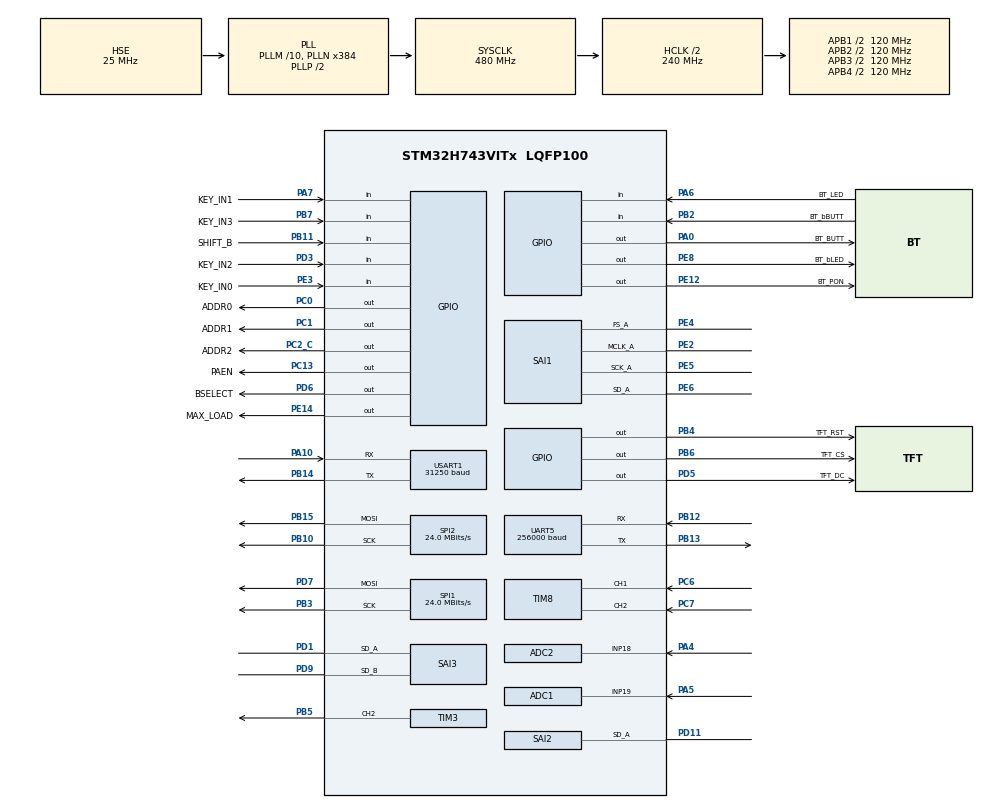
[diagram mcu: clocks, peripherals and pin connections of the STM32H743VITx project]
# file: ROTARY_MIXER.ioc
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ADC1.Channel-2\#ChannelRegularConversion=ADC_CHANNEL_19
ADC1.Mode=ADC_MODE_INDEPENDENT
ADC1.NbrOfConversionFlag=1
ADC1.OffsetNumber-2\#ChannelRegularConversion=ADC_OFFSET_NONE
ADC1.OffsetSignedSaturation-2\#ChannelRegularConversion=DISABLE
ADC1.Rank-2\#ChannelRegularConversion=1
ADC1.Resolution=ADC_RESOLUTION_12B
ADC1.SamplingTime-2\#ChannelRegularConversion=ADC_SAMPLETIME_1CYCLE_5
ADC1.master=1
ADC2.Channel-1\#ChannelRegularConversion=ADC_CHANNEL_18
ADC2.NbrOfConversionFlag=1
ADC2.OffsetNumber-1\#ChannelRegularConversion=ADC_OFFSET_NONE
ADC2.OffsetSignedSaturation-1\#ChannelRegularConversion=DISABLE
ADC2.Rank-1\#ChannelRegularConversion=1
ADC2.Resolution=ADC_RESOLUTION_12B
ADC2.SamplingTime-1\#ChannelRegularConversion=ADC_SAMPLETIME_1CYCLE_5
CORTEX_M7.CPU_DCache=Enabled
CORTEX_M7.CPU_ICache=Enabled
CORTEX_M7.Enable_S-Cortex_Memory_Protection_Unit_Region13_Settings_S=__NULL
CORTEX_M7.MPU_Control=__NULL
Mcu.Family=STM32H7
Mcu.Name=STM32H743VITx
Mcu.Package=LQFP100
NVIC.PriorityGroup=NVIC_PRIORITYGROUP_4
NVIC.SAI1_IRQn=true\:0\:0\:true\:false\:true\:true\:true\:true
NVIC.SAI2_IRQn=true\:1\:0\:true\:false\:true\:true\:true\:true
NVIC.SAI3_IRQn=true\:2\:0\:true\:false\:true\:true\:true\:true
NVIC.TIM2_IRQn=true\:3\:0\:true\:false\:true\:true\:true\:true
NVIC.TIM8_UP_TIM13_IRQn=true\:6\:0\:true\:false\:true\:true\:true\:true
NVIC.UART5_IRQn=true\:3\:0\:true\:false\:true\:true\:true\:true
NVIC.USART1_IRQn=true\:5\:0\:true\:false\:true\:true\:true\:true
PA0.GPIO_Label=BT_BUTT
PA0.GPIO_Speed=GPIO_SPEED_FREQ_MEDIUM
PA0.Signal=GPIO_Output
PA10.Mode=Asynchronous
PA10.Signal=USART1_RX
PA4.Signal=ADCx_INP18
PA5.Signal=ADCx_INP19
PA6.GPIO_Label=BT_LED
PA6.GPIO_PuPd=GPIO_PULLUP
PA6.Signal=GPIO_Input
PA7.GPIO_Label=KEY_IN1
PA7.Signal=GPIO_Input
PB10.GPIO_Speed=GPIO_SPEED_FREQ_MEDIUM
PB10.Mode=TX_Only_Simplex_Unidirect_Master
PB10.Signal=SPI2_SCK
PB11.GPIO_Label=SHIFT_B
PB11.GPIO_PuPd=GPIO_PULLUP
PB11.Signal=GPIO_Input
PB12.Mode=Asynchronous
PB12.Signal=UART5_RX
PB13.Mode=Asynchronous
PB13.Signal=UART5_TX
PB14.Mode=Asynchronous
PB14.Signal=USART1_TX
PB15.GPIO_Speed=GPIO_SPEED_FREQ_MEDIUM
PB15.Mode=TX_Only_Simplex_Unidirect_Master
PB15.Signal=SPI2_MOSI
PB2.GPIO_Label=BT_bBUTT
PB2.GPIO_PuPd=GPIO_PULLUP
PB2.Signal=GPIO_Input
PB3\ (JTDO/TRACESWO).GPIO_Speed=GPIO_SPEED_FREQ_HIGH
PB3\ (JTDO/TRACESWO).Mode=TX_Only_Simplex_Unidirect_Master
PB3\ (JTDO/TRACESWO).Signal=SPI1_SCK
PB4\ (NJTRST).GPIO_Label=TFT_RST
PB4\ (NJTRST).GPIO_Speed=GPIO_SPEED_FREQ_MEDIUM
PB4\ (NJTRST).Signal=GPIO_Output
PB5.Signal=S_TIM3_CH2
PB6.GPIO_FM6=SYSCFG_PMCR_I2C_PB6_FMP
PB6.GPIO_Label=TFT_CS
PB6.GPIO_Speed=GPIO_SPEED_FREQ_VERY_HIGH
PB6.PinState=GPIO_PIN_SET
PB6.Signal=GPIO_Output
PB7.GPIO_Label=KEY_IN3
PB7.Signal=GPIO_Input
PC0.GPIO_Label=ADDR0
PC0.GPIO_Speed=GPIO_SPEED_FREQ_HIGH
PC0.Signal=GPIO_Output
PC1.GPIO_Label=ADDR1
PC1.GPIO_Speed=GPIO_SPEED_FREQ_HIGH
PC1.Signal=GPIO_Output
PC13.GPIO_Label=PAEN
PC13.Signal=GPIO_Output
PC2_C.GPIO_Label=ADDR2
PC2_C.GPIO_Speed=GPIO_SPEED_FREQ_HIGH
PC2_C.Signal=GPIO_Output
PC6.Signal=S_TIM8_CH1
PC7.Signal=S_TIM8_CH2
PD1.Mode=SAI_A_SyncSlave
PD1.Signal=SAI3_SD_A
PD11.Mode=SAI_A_SyncSlave
PD11.Signal=SAI2_SD_A
PD3.GPIO_Label=KEY_IN2
PD3.Signal=GPIO_Input
PD5.GPIO_Label=TFT_DC
PD5.GPIO_Speed=GPIO_SPEED_FREQ_VERY_HIGH
PD5.Signal=GPIO_Output
PD6.GPIO_Label=BSELECT
PD6.GPIO_Speed=GPIO_SPEED_FREQ_MEDIUM
PD6.Signal=GPIO_Output
PD7.GPIO_Speed=GPIO_SPEED_FREQ_HIGH
PD7.Mode=TX_Only_Simplex_Unidirect_Master
PD7.Signal=SPI1_MOSI
PD9.Mode=SAI_B_SyncSlave
PD9.Signal=SAI3_SD_B
PE12.GPIO_Label=BT_PON
PE12.GPIO_Speed=GPIO_SPEED_FREQ_MEDIUM
PE12.Signal=GPIO_Output
PE14.GPIO_Label=MAX_LOAD
PE14.GPIO_Speed=GPIO_SPEED_FREQ_VERY_HIGH
PE14.Signal=GPIO_Output
PE2.Mode=SAI_A_MasterWithClock
PE2.Signal=SAI1_MCLK_A
PE3.GPIO_Label=KEY_IN0
PE3.Signal=GPIO_Input
PE4.Mode=SAI_A_MasterWithClock
PE4.Signal=SAI1_FS_A
PE5.Mode=SAI_A_MasterWithClock
PE5.Signal=SAI1_SCK_A
PE6.Mode=SAI_A_MasterWithClock
PE6.Signal=SAI1_SD_A
PE8.GPIO_Label=BT_bLED
PE8.GPIO_Speed=GPIO_SPEED_FREQ_MEDIUM
PE8.Signal=GPIO_Output
PH0-OSC_IN\ (PH0).Mode=HSE-External-Oscillator
PH0-OSC_IN\ (PH0).Signal=RCC_OSC_IN
PH1-OSC_OUT\ (PH1).Mode=HSE-External-Oscillator
PH1-OSC_OUT\ (PH1).Signal=RCC_OSC_OUT
ProjectManager.HeapSize=0x200
ProjectManager.StackSize=0x400
ProjectManager.TargetToolchain=MDK-ARM V5.32
RCC.ADCFreq_Value=60000000
RCC.APB1Freq_Value=120000000
RCC.APB2Freq_Value=120000000
RCC.APB3Freq_Value=120000000
RCC.APB4Freq_Value=120000000
RCC.CortexFreq_Value=480000000
RCC.D1PPRE=RCC_APB3_DIV2
RCC.D2PPRE1=RCC_APB1_DIV2
RCC.D2PPRE2=RCC_APB2_DIV2
RCC.D3PPRE=RCC_APB4_DIV2
RCC.DIVM1=10
RCC.DIVM2=10
RCC.DIVM3=25
RCC.DIVN1=384
RCC.DIVN2=144
RCC.DIVN3=451
RCC.DIVP2=6
RCC.DIVP3=4
RCC.DIVQ1=5
RCC.HCLKFreq_Value=240000000
RCC.HPRE=RCC_HCLK_DIV2
RCC.LockedElements=D1CPREOutput
RCC.PLL2FRACN=0
RCC.PLL3FRACN=0
RCC.PLLFRACN=0
RCC.PLLSourceVirtual=RCC_PLLSOURCE_HSE
RCC.SAI1CLockSelection=RCC_SAI1CLKSOURCE_PLL3
RCC.SAI23CLockSelection=RCC_SAI23CLKSOURCE_PLL3
RCC.SYSCLKFreq_VALUE=480000000
RCC.SYSCLKSource=RCC_SYSCLKSOURCE_PLLCLK
RCC.Tim2Mul=2
RCC.USBFreq_Value=192000000
SAI1.ActiveFrameLength-SAI_A_MasterWithClock=32
SAI1.AudioFrequency-SAI_A_MasterWithClock=SAI_AUDIO_FREQUENCY_44K
SAI1.AudioMode-SAI_A_MasterWithClock=SAI_MODEMASTER_TX
SAI1.ClockStrobing-SAI_A_MasterWithClock=SAI_CLOCKSTROBING_RISINGEDGE
SAI1.DataSize-SAI_A_MasterWithClock=SAI_DATASIZE_16
SAI1.ErrorAudioFreq-SAI_A_MasterWithClock=0.09 %
SAI1.FSDefinition-SAI_A_MasterWithClock=SAI_FS_CHANNEL_IDENTIFICATION
SAI1.FSOffset-SAI_A_MasterWithClock=SAI_FS_BEFOREFIRSTBIT
SAI1.FrameLength-SAI_A_MasterWithClock=64
SAI1.Instance-SAI_A_MasterWithClock=SAI$Index_Block_A
SAI1.MClockEnable=SAI_MASTERCLOCK_ENABLE
SAI1.OutputDrive-SAI_A_MasterWithClock=SAI_OUTPUTDRIVE_ENABLE
SAI1.RealAudioFreq-SAI_A_MasterWithClock=44.042 KHz
SAI1.SlotActive-SAI_A_MasterWithClock=0x00000003
SAI1.SlotNumber-SAI_A_MasterWithClock=2
SAI1.SlotSize-SAI_A_MasterWithClock=SAI_SLOTSIZE_DATASIZE
SAI1.SynchroExt=SAI_SYNCEXT_OUTBLOCKA_ENABLE
SAI1.VirtualMode-SAI_A_MasterWithClock=VM_MASTER
SAI1.VirtualSlotActive-SAI_A_MasterWithClock=SAI_SLOT_USERSETTING
SAI1.VirtualSlotActive0-SAI_A_MasterWithClock=true
SAI1.VirtualSlotActive1-SAI_A_MasterWithClock=true
SAI2.ClockStrobing-SAI_A_SyncSlave=SAI_CLOCKSTROBING_RISINGEDGE
SAI2.DataSize-SAI_A_SyncSlave=SAI_DATASIZE_16
SAI2.FrameLength-SAI_A_SyncSlave=32
SAI2.Instance-SAI_A_SyncSlave=SAI$Index_Block_A
SAI2.OutputDrive-SAI_A_SyncSlave=SAI_OUTPUTDRIVE_ENABLE
SAI2.SlotActive-SAI_A_SyncSlave=0x00000003
SAI2.SlotNumber-SAI_A_SyncSlave=2
SAI2.Synchro_A=SAI_SYNCHRONOUS
SAI2.VirtualMode-SAI_A_SyncSlave=VM_SLAVE
SAI2.VirtualSlotActive-SAI_A_SyncSlave=SAI_SLOT_USERSETTING
SAI2.VirtualSlotActive0-SAI_A_SyncSlave=true
SAI2.VirtualSlotActive1-SAI_A_SyncSlave=true
SAI3.ActiveFrameLength-SAI_A_SyncSlave=32
SAI3.ActiveFrameLength-SAI_B_SyncSlave=32
SAI3.ClockStrobing-SAI_A_SyncSlave=SAI_CLOCKSTROBING_RISINGEDGE
SAI3.ClockStrobing-SAI_B_SyncSlave=SAI_CLOCKSTROBING_RISINGEDGE
SAI3.DataSize-SAI_A_SyncSlave=SAI_DATASIZE_32
SAI3.DataSize-SAI_B_SyncSlave=SAI_DATASIZE_32
SAI3.FSDefinition-SAI_A_SyncSlave=SAI_FS_CHANNEL_IDENTIFICATION
SAI3.FSDefinition-SAI_B_SyncSlave=SAI_FS_CHANNEL_IDENTIFICATION
SAI3.FrameLength-SAI_A_SyncSlave=64
SAI3.FrameLength-SAI_B_SyncSlave=64
SAI3.Instance-SAI_A_SyncSlave=SAI$Index_Block_A
SAI3.Instance-SAI_B_SyncSlave=SAI$Index_Block_B
SAI3.OutputDrive-SAI_A_SyncSlave=SAI_OUTPUTDRIVE_ENABLE
SAI3.OutputDrive-SAI_B_SyncSlave=SAI_OUTPUTDRIVE_ENABLE
SAI3.SlotActive-SAI_A_SyncSlave=0x00000003
SAI3.SlotActive-SAI_B_SyncSlave=0x00000003
SAI3.SlotNumber-SAI_A_SyncSlave=2
SAI3.SlotNumber-SAI_B_SyncSlave=2
SAI3.Synchro_A=SAI_SYNCHRONOUS_EXT_SAI1
SAI3.VirtualMode-SAI_A_SyncSlave=VM_SLAVE
SAI3.VirtualMode-SAI_B_SyncSlave=VM_SLAVE
SAI3.VirtualSlotActive-SAI_A_SyncSlave=SAI_SLOT_USERSETTING
SAI3.VirtualSlotActive-SAI_B_SyncSlave=SAI_SLOT_USERSETTING
SAI3.VirtualSlotActive0-SAI_A_SyncSlave=true
SAI3.VirtualSlotActive0-SAI_B_SyncSlave=true
SAI3.VirtualSlotActive1-SAI_A_SyncSlave=true
SAI3.VirtualSlotActive1-SAI_B_SyncSlave=true
SH.ADCx_INP18.0=ADC2_INP18,IN18-Single-Ended
SH.ADCx_INP19.0=ADC1_INP19,IN19-Single-Ended
SH.S_TIM3_CH2.0=TIM3_CH2,PWM Generation2 CH2
SH.S_TIM8_CH1.0=TIM8_CH1,Encoder_Interface
SH.S_TIM8_CH2.0=TIM8_CH2,Encoder_Interface
SPI1.BaudRatePrescaler=SPI_BAUDRATEPRESCALER_8
SPI1.CalculateBaudRate=24.0 MBits/s
SPI1.DataSize=SPI_DATASIZE_8BIT
SPI1.Direction=SPI_DIRECTION_2LINES_TXONLY
SPI1.MasterKeepIOState=SPI_MASTER_KEEP_IO_STATE_ENABLE
SPI1.Mode=SPI_MODE_MASTER
SPI1.VirtualType=VM_MASTER
SPI2.BaudRatePrescaler=SPI_BAUDRATEPRESCALER_8
SPI2.CalculateBaudRate=24.0 MBits/s
SPI2.DataSize=SPI_DATASIZE_16BIT
SPI2.Direction=SPI_DIRECTION_2LINES_TXONLY
SPI2.MasterKeepIOState=SPI_MASTER_KEEP_IO_STATE_ENABLE
SPI2.Mode=SPI_MODE_MASTER
SPI2.NSSPMode=SPI_NSS_PULSE_ENABLE
SPI2.VirtualType=VM_MASTER
TIM2.ClockDivision=TIM_CLOCKDIVISION_DIV2
TIM2.Period=999
TIM2.Prescaler=99
TIM3.Channel-PWM\ Generation2\ CH2=TIM_CHANNEL_2
TIM3.ClockDivision=TIM_CLOCKDIVISION_DIV4
TIM3.Period=999
TIM3.Prescaler=239
TIM8.EncoderMode=TIM_ENCODERMODE_TI1
TIM8.IC1Filter=5
TIM8.IC2Filter=5
UART5.BaudRate=256000
USART1.BaudRate=31250
USART1.Mode=MODE_RX
USART1.VirtualMode-Asynchronous=VM_ASYNC
VP_SAI1_VP_$IpInstance_SYNCHRO_EXTERNAL.Mode=SynchroExternal
VP_TIM2_VS_ClockSourceINT.Mode=Internal
VP_TIM3_VS_ClockSourceINT.Mode=Internal
board=custom

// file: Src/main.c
/* USER CODE BEGIN Header */
/**
  ******************************************************************************
  * @file           : main.c
  * @brief          : Main program body
  ******************************************************************************
  * @attention
  *
  * Copyright (c) 2024 STMicroelectronics.
  * All rights reserved.
  *
  * This software is licensed under terms that can be found in the LICENSE file
  * in the root directory of this software component.
  * If no LICENSE file comes with this software, it is provided AS-IS.
  *
  ******************************************************************************
  */
/* USER CODE END Header */
#include "main.h"
#include "adc.h"
#include "sai.h"
#include "spi.h"
#include "tim.h"
#include "usart.h"
#include "gpio.h"

/* USER CODE BEGIN Includes */
#include <math.h>
#include "arm_math.h"

////////////////////////////////////////////////////////////////////////////////////////
//
//		Product: XDJ-X mixer assy
//
//
//		Generated with: STM32CubeMX 6.10.0
//		Firmware Package Name and Version STM32Cube FW_H7 V1.11.1
//
//
//		add file arm_math.h
//		SPI2:
//	  hspi2.Init.MasterKeepIOState = SPI_MASTER_KEEP_IO_STATE_ENABLE;
//    GPIO_InitStruct.Speed = GPIO_SPEED_FREQ_MEDIUM; (SPI2)
//		SPI1:
//	  hspi1.Init.MasterKeepIOState = SPI_MASTER_KEEP_IO_STATE_ENABLE;
//
//    PB3 (JTDO/TRACESWO)     ------> SPI1_SCK
//    */
//    GPIO_InitStruct.Pin = GPIO_PIN_7;
//    GPIO_InitStruct.Mode = GPIO_MODE_AF_PP;
//    GPIO_InitStruct.Pull = GPIO_PULLUP;
//    GPIO_InitStruct.Speed = GPIO_SPEED_FREQ_HIGH;
//    GPIO_InitStruct.Alternate = GPIO_AF5_SPI1;
//    HAL_GPIO_Init(GPIOD, &GPIO_InitStruct);
//
//    GPIO_InitStruct.Pin = GPIO_PIN_3;
//    GPIO_InitStruct.Mode = GPIO_MODE_AF_PP;
//    GPIO_InitStruct.Pull = GPIO_PULLUP;
//    GPIO_InitStruct.Speed = GPIO_SPEED_FREQ_HIGH;
//    GPIO_InitStruct.Alternate = GPIO_AF5_SPI1;
//    HAL_GPIO_Init(GPIOB, &GPIO_InitStruct);
//
//
//
//		replace code in: sai.c
//
//  		hsai_BlockA2.Instance = SAI2_Block_A;
//			hsai_BlockA2.Init.Protocol = SAI_FREE_PROTOCOL;
//			hsai_BlockA2.Init.AudioMode = SAI_MODESLAVE_TX;
//			hsai_BlockA2.Init.DataSize = SAI_DATASIZE_16;
//			hsai_BlockA2.Init.FirstBit = SAI_FIRSTBIT_MSB;
//			hsai_BlockA2.Init.ClockStrobing = SAI_CLOCKSTROBING_RISINGEDGE;
//			hsai_BlockA2.Init.Synchro = SAI_SYNCHRONOUS_EXT_SAI1;
//			hsai_BlockA2.Init.OutputDrive = SAI_OUTPUTDRIVE_ENABLE;
//			hsai_BlockA2.Init.FIFOThreshold = SAI_FIFOTHRESHOLD_EMPTY;
//			hsai_BlockA2.Init.MonoStereoMode = SAI_STEREOMODE;
//			hsai_BlockA2.Init.CompandingMode = SAI_NOCOMPANDING;
//			hsai_BlockA2.Init.TriState = SAI_OUTPUT_NOTRELEASED;
//			hsai_BlockA2.Init.PdmInit.Activation = DISABLE;
//			hsai_BlockA2.Init.PdmInit.MicPairsNbr = 1;
//			hsai_BlockA2.Init.PdmInit.ClockEnable = SAI_PDM_CLOCK1_ENABLE;
//			hsai_BlockA2.FrameInit.FrameLength = 64;
//			hsai_BlockA2.FrameInit.ActiveFrameLength = 32;
//			hsai_BlockA2.FrameInit.FSDefinition = SAI_FS_CHANNEL_IDENTIFICATION;
//			hsai_BlockA2.FrameInit.FSPolarity = SAI_FS_ACTIVE_LOW;
//			hsai_BlockA2.FrameInit.FSOffset = SAI_FS_BEFOREFIRSTBIT;
//			hsai_BlockA2.SlotInit.FirstBitOffset = 0;
//			hsai_BlockA2.SlotInit.SlotSize = SAI_SLOTSIZE_DATASIZE;
//			hsai_BlockA2.SlotInit.SlotNumber = 2;
//			hsai_BlockA2.SlotInit.SlotActive = 0x00000003;
//			if (HAL_SAI_Init(&hsai_BlockA2) != HAL_OK)
//			{
//				Error_Handler();
//			}
//
//
//
//	TIM2 		interrupt for cycle request ADCs and buttons
//	TIM3		PWM for LCD backlight
//	TIM8		encoder timer
//	SPI1		TFT ST7735
//	SPI2		MAX7219
//	USART1	crossfader RX only BaudRate = 31000
//	UART5		for bridge main assy <=> mixer assy
//
//
//
////////////////////////////////////////////////////////////////////////////////////////
//
//
//
//	ver. 0.15
//	-	filling peripheral functions
//	ver. 0.16
//	-	added tft blink test
//	ver. 0.19
//	-	added tft_gui.h
//	-	improved TFT library (accelerated pixel output, changed arguments in functions to uint8_t)
//	-	add FontVFD font
//	-	multiplexer scanning sequence error fixed
//	ver. 0.21
//	-	added ADCs
//	-	added level meters func
//	ver. 0.22
//	-	added hysteresis filter for adcs
//	ver. 0.23
//	-	added USART1 crossfader recieve data
//	ver. 0.24
//	- added Bluetooth power, button, led managment
//	ver. 0.25
//	- DACs with sine wave output started
//	ver. 0.26
//	-	added blinking CFX, BFX
//	ver. 0.27
//	- added link uart5 handler
//	ver. 0.28
//	- fix BFXON led invert
//	ver. 0.29
//	-	debugged SAI exchange 128 bits per sample (32 bits per channel)
//	ver. 0.31
//	-	added potenciometers data conversion to 8 bits data
//	-	added firs audio processing with pot control
//	ver. 0.33
//	-	added TRIM, CRSF, FDR, MIXN processes
//	ver. 0.35
//	-	SAI reception has been switched to floating point data
//	-	added a new arrays for audio processing
//	ver. 0.37
//	-	added EQ processeng
//	-	added level meters connecting to audio
//	ver. 0.38
//	-	added LVLtoDB func.
//	- optimized LEVEL_METER func.
//	ver. 0.39
//	- leveler integrator code changed
//	ver. 0.40
//	- improved leveler integrator coeff
//	-	LEVEL_METER func bug fix
//	ver. 0.41
//	-	link uart up to 500000 baud
//	ver. 0.42
//	-	added inair sending
//	ver. 0.43
//	- ON AIR bug fixed
//	ver. 0.44
//	-	The frequency of checking and sending the in-air status has been changed
//	-	crossfader curves added
//	- EQ ISO curve added
//	ver. 0.51
//	-	LEDs CFX blink buf fixed
//	- EQ -26dB curve added (pio curve dump)
//	-	CRSFCURVE realtime update added
//	-	CFX FITER added
//	ver. 0.53
//	- BFX ECHO, ringbuffer added
//	ver. 0.57
//	- NOISE CFX added
//	- CFX FITER curve changed
//	ver. 0.59
//	- CFX FITER: drop distorsion fixed
//	- BFX TFT_DRAW_RNGDIV added
//	- CHANGE_RNGSIZE func added
//	ver. 0.61
//	- EFFATT, ORIGATT added
//	- Delay BFX added
//	ver. 0.63
//	-	GUI fix
//	-	BFX FLANGER first code
//
//
//
//
//
////////////////////////////////////////////////////////////////////////////////////////

/* USER CODE END Includes */

/* USER CODE BEGIN PV */

uint16_t FW_VER = 63;

#include "global_variables.h"

#include "spi_st7735.h"
#include "audio.h"
#include "audio_handler.h"
#include "tft_gui.h"
#include "MAX7219.h"

/* USER CODE END PV */

void SystemClock_Config(void);
void PeriphCommonClock_Config(void);

int main(void)
{
/* Enable the CPU Cache */

  /* Enable I-Cache---------------------------------------------------------*/
  SCB_EnableICache();

  /* Enable D-Cache---------------------------------------------------------*/
  SCB_EnableDCache();

  /* MCU Configuration--------------------------------------------------------*/

  /* Reset of all peripherals, Initializes the Flash interface and the Systick. */
  HAL_Init();

  /* Configure the system clock */
  SystemClock_Config();

/* Configure the peripherals common clocks */
  PeriphCommonClock_Config();

  /* Initialize all configured peripherals */
  MX_GPIO_Init();
  MX_UART5_Init();
  MX_SAI1_Init();
  MX_SAI2_Init();
  MX_SAI3_Init();
  MX_TIM2_Init();
  MX_ADC1_Init();
  MX_ADC2_Init();
  MX_SPI1_Init();
  MX_SPI2_Init();
  MX_TIM8_Init();
  MX_USART1_UART_Init();
  MX_TIM3_Init();
  /* USER CODE BEGIN 2 */
	MAX7219_INIT();
	HAL_Delay(2900);

	init_3band_state(&eql0, 850, 3500, 44100);		//850 3500 pio standart
	init_3band_state(&eqr0, 850, 3500, 44100);		//
	init_3band_state(&eql1, 850, 3500, 44100);		//
	init_3band_state(&eqr1, 850, 3500, 44100);		//

	HAL_GPIO_WritePin(TFT_RST_GPIO_Port, TFT_RST_Pin, GPIO_PIN_SET);
	HAL_Delay(100);
	HAL_GPIO_WritePin(TFT_RST_GPIO_Port, TFT_RST_Pin, GPIO_PIN_RESET);

	TFT_ini(128, 160);
	TFT_SetRotation();
  TFT_FillScreen(TFT_BLACK);
	TFT_DRAW_STATIC();

	TFT_SetBackColor(TFT_BLACK);
	TFT_SetTextColor(TFT_WHITE);

	HAL_SAI_Transmit_IT(&hsai_BlockA1, MASTER_BUS, 2);
	HAL_SAI_Transmit_IT(&hsai_BlockA2, HP_BUS, 2);
	HAL_SAI_Receive_IT(&hsai_BlockA3, CH0IN, 2);
	HAL_SAI_Receive_IT(&hsai_BlockB3, CH1IN, 2);

	HAL_TIM_Base_Start_IT(&htim2);									//start main timer
	HAL_TIM_PWM_Start(&htim3, TIM_CHANNEL_2);				//start lcd pwm
	TIM3->CCR2 = 750;																//set lcd pwm

	MAX7219_DATA[0] = 0xFF;
	MAX7219_DATA[1] = 0xFF;
	MAX7219_DATA[2] = 0xFF;
	MAX7219_DATA[3] = 0xFF;
	MAX7219_DATA[4] = 0xFF;
	MAX7219_DATA[5] = 0xFF;
	MAX7219_DATA[6] = 0xFF;
	MAX7219_DATA[7] = 0xFF;

	MAX7219_UPDATE(0);
	MAX7219_UPDATE(1);
	MAX7219_UPDATE(2);
	MAX7219_UPDATE(3);
	MAX7219_UPDATE(4);
	MAX7219_UPDATE(5);
	MAX7219_UPDATE(6);
	MAX7219_UPDATE(7);

	BT_LED_ON;
	HAL_Delay(2000);
	HAL_GPIO_WritePin(GPIOC, PAEN_Pin, GPIO_PIN_SET);			//analog power on
	USART1->CR1 |= USART_CR1_RXNEIE_RXFNEIE; //interrupt ON for a RX enable
	USART1->CR1 |= USART_CR1_PEIE;
	UART5->CR1 |= USART_CR1_RXNEIE_RXFNEIE; //interrupt ON for a RX enable
	UART5->CR1 |= USART_CR1_PEIE;

	MAX7219_DATA[7] = 0xF0;
	MAX7219_UPDATE(7);

	prev_pot_8b_DEPT = pot_8b[DEPT]-5;			//force update
  /* USER CODE END 2 */

  /* Infinite loop */
  /* USER CODE BEGIN WHILE */
  while (1)
  {
	/////////////////TEMPORARY
	if((HAL_GetTick()-temp_time)>25)
		{
		#include "INAIR.h"

		if(BFXn==4)	//FLANGER
			{
			if(rngsize<135)
				{
				rngsize++;
				}
			else
				{
				rngsize = 30;
				}
			}

		if(divdr<9)
			{
			divdr++;
			}
		else
			{
			if(last_bit_time<20)
				{
				last_bit_time++;
				}

			if(lay==0)
				{
				TFT_SetTextColor(TFT_WHITE);
				lay = 1;
				}
			else
				{
				if(last_bit_time>19)
					{
					TFT_SetTextColor(TFT_BLACK);
					}
				else
					{
					TFT_SetTextColor(TFT_WHITE);
					}
				lay = 0;
				}

			sprintf((char*)STR_BUFF, "%3lu", (BPM_link+50)/100);
			TFT_SetFont(&FontVFD);
			TFT_String(38, 77, STR_BUFF);

			sprintf((char*)&STR_BUFF[48], "%02lu", B);
			TFT_SetTextColor(TFT_BLUE);
			TFT_SetFont(&Font8);
			TFT_String(95, 110, &STR_BUFF[48]);
			divdr = 0;
			}
		temp_time = HAL_GetTick();
		}

	if(ADC_prev!=pot_8b[B])
		{
		sprintf((char*)&STR_BUFF[32], "%03lu", pot_8b[B]);
		TFT_SetTextColor(TFT_WHITE);
		TFT_SetFont(&Font8);
		TFT_String(95, 102, &STR_BUFF[32]);
		//LEVEL_METER(3, pot_8b[B]/21, 0);
		ADC_prev = pot_8b[B];
		}

	if(MAX7219_need_update!=0)
		{
		if(MAX7219_need_update&0x01)
			{
			MAX7219_UPDATE(0);
			MAX7219_need_update&=0xFE;
			}
		if(MAX7219_need_update&0x02)
			{
			MAX7219_UPDATE(1);
			MAX7219_need_update&=0xFD;
			}
		if(MAX7219_need_update&0x04)
			{
			MAX7219_UPDATE(2);
			MAX7219_need_update&=0xFB;
			}
		if(MAX7219_need_update&0x08)
			{
			MAX7219_UPDATE(3);
			MAX7219_need_update&=0xF7;
			}
		if(MAX7219_need_update&0x10)
			{
			MAX7219_UPDATE(4);
			MAX7219_need_update&=0xEF;
			}
		if(MAX7219_need_update&0x20)
			{
			MAX7219_UPDATE(5);
			MAX7219_need_update&=0xDF;
			}
		if(MAX7219_need_update&0x40)
			{
			MAX7219_UPDATE(6);
			MAX7219_need_update&=0xBF;
			}
		if(MAX7219_need_update&0x80)
			{
			MAX7219_UPDATE(7);
			MAX7219_need_update&=0x7F;
			}
		}

	if(need_draw_fxsel>0)
		{
		TFT_FXSELECTOR(BFXn);
		CHANGE_RNGSIZE();
		TFT_DRAW_RNGDIV(rngdiv[BFXn]);
		need_draw_fxsel = 0;
		}
	if(need_draw_chsel>0)
		{
		TFT_CHSELECTOR(CHSEL);
		need_draw_chsel = 0;
		}
	if(need_draw_bticon>0)
		{
		TFT_DRAW_BT(BT_ENABLE);
		need_draw_bticon = 0;
		}
	if(need_beat_change!=0)
		{
		if(need_beat_change==1)		//++
			{
			if(BFXn<8)
				{
				if(rngdiv[BFXn]<7)
					{
					rngdiv[BFXn]++;
					}
				}
			}
		else					//--
			{
			if(BFXn<8)
				{
				if(rngdiv[BFXn]>0)
					{
					rngdiv[BFXn]--;
					}
				}
			}
		CHANGE_RNGSIZE();
		TFT_DRAW_RNGDIV(rngdiv[BFXn]);
		need_beat_change = 0;
		}
	if(need_draw_ms)
		{
		TFT_SetTextColor(TFT_WHITE);
		TFT_SetFont(&FontVFD);
		sprintf((char*)STR_BUFF, "%4lu", (10*rngsize)/441);
		TFT_String(19, 106, STR_BUFF);
		need_draw_ms = 0;
		}

	if(link_new_data)				//UART5 link handler
		{
		if(link_urx_buf[0]==0x95 ||  link_urx_buf[0]==0x96)	//sending bpm at beats (BPM*100), 0x95-0x96 – first beat 1/4
			{
			BPM_link = 0x100*link_urx_buf[1]+link_urx_buf[2];
			if(prev_BPM_link!=BPM_link)
				{
				CHANGE_RNGSIZE();
				prev_BPM_link = BPM_link;
				}
			last_bit_time = 0;
			}
		else if(link_urx_buf[0]==0x91 && link_urx_buf[1]==0x60 && link_urx_buf[2]==0x31)		//firmware version request
			{
			link_utx_buf[0] = 0x91;
			link_utx_buf[1] = FW_VER>>8;
			link_utx_buf[2] =	FW_VER%256;
			HAL_UART_Transmit(&huart5, link_utx_buf, 3, 5);
			}
		else if(link_urx_buf[0]==0x92)		//setting table values of equalizer cutoff frequencies
			{
//				init_3band_state(&eql0, 880, 4000, 44100);
//				init_3band_state(&eqr0, 880, 4000, 44100);
//				init_3band_state(&eql1, 880, 4000, 44100);
//				init_3band_state(&eqr1, 880, 4000, 44100);
			}
		else if(link_urx_buf[0]==0x93 && link_urx_buf[1]==0xB1)		//setting fader curve type
			{

			}
		else if(link_urx_buf[0]==0x94 && link_urx_buf[1]==0xA3)		//setting headphones cue type (pre EQ or post EQ)
			{

			}
		else if(link_urx_buf[0]==0x97 && link_urx_buf[1]==0xFC)		//shutdown command)
			{
			TIM3->CCR2 = 0;
			HAL_GPIO_WritePin(GPIOC, PAEN_Pin, GPIO_PIN_RESET);			//analog power off
			BT_LED_OFF;
			CFXON = 0;
			BFXON = 0;
			CUE1ON = 0;
			CUE2ON = 0;
			MAX7219_DATA[0] = 0x00;
			MAX7219_DATA[1] = 0x00;
			MAX7219_DATA[2] = 0x00;
			MAX7219_DATA[3] = 0x00;
			MAX7219_DATA[4] = 0x00;
			MAX7219_DATA[5] = 0x00;
			MAX7219_DATA[6] = 0x00;
			MAX7219_DATA[7] = 0x00;
			MAX7219_UPDATE(0);
			MAX7219_UPDATE(1);
			MAX7219_UPDATE(2);
			MAX7219_UPDATE(3);
			MAX7219_UPDATE(4);
			MAX7219_UPDATE(5);
			MAX7219_UPDATE(6);
			MAX7219_UPDATE(7);
			}
		link_new_data = 0;
		}

	if(prev_pot_8b_CFX0!=pot_8b[CFX0])		///FILTER CH1
		{
		prev_pot_8b_CFX0 = pot_8b[CFX0];
		if(CFXON==8)
			{
			CALC_CUTF_0();
			}
		else if(CFXON==6)
			{
			CALC_CUTF_0();
			}
		}
	if(prev_pot_8b_CFX1!=pot_8b[CFX1])		///FILTER CH2
		{
		prev_pot_8b_CFX1 = pot_8b[CFX1];
		if(CFXON==8)
			{
			CALC_CUTF_1();
			}
		else if(CFXON==6)
			{
			CALC_CUTF_1();
			}
		}
	if(prev_pot_8b_PRMT!=pot_8b[PRMT])		/// QFAC
		{
		prev_pot_8b_PRMT = pot_8b[PRMT];
		if(CFXON==8)
			{
			CALC_CUTF_0();
			CALC_CUTF_1();
			curr_TRIM_FILTER = TRIM_FILTER[pot_8b[PRMT]];
			}
		else if(CFXON==6)
			{
			curr_TRIM_FILTER = TRIM_FILTER[128];
			}
		}
	if(prev_pot_8b_DEPT!=pot_8b[DEPT])		/// BEAT FX
		{
		prev_pot_8b_DEPT = pot_8b[DEPT];
		ORIGATT = ORIG_ATT[pot_8b[DEPT]];
		EFFATT = EFF_ATT[pot_8b[DEPT]];
		}

	if(prev_CFXON!=CFXON)			//calculate parameters for a new effect
		{
		prev_CFXON = CFXON;
		if(CFXON==8)
			{
			CALC_CUTF_0();
			CALC_CUTF_1();
			curr_TRIM_FILTER = TRIM_FILTER[pot_8b[PRMT]];
			}
		else if(CFXON==6)
			{
			CALC_CUTF_0();
			CALC_CUTF_1();
			curr_TRIM_FILTER = TRIM_FILTER[128];
			}
		}

    /* USER CODE END WHILE */

  }
}

void SystemClock_Config(void)
{
  RCC_OscInitTypeDef RCC_OscInitStruct = {0};
  RCC_ClkInitTypeDef RCC_ClkInitStruct = {0};

  /** Supply configuration update enable
  */
  HAL_PWREx_ConfigSupply(PWR_LDO_SUPPLY);

  /** Configure the main internal regulator output voltage
  */
  __HAL_PWR_VOLTAGESCALING_CONFIG(PWR_REGULATOR_VOLTAGE_SCALE1);

  while(!__HAL_PWR_GET_FLAG(PWR_FLAG_VOSRDY)) {}

  __HAL_RCC_SYSCFG_CLK_ENABLE();
  __HAL_PWR_VOLTAGESCALING_CONFIG(PWR_REGULATOR_VOLTAGE_SCALE0);

  while(!__HAL_PWR_GET_FLAG(PWR_FLAG_VOSRDY)) {}

  /** Initializes the RCC Oscillators according to the specified parameters
  * in the RCC_OscInitTypeDef structure.
  */
  RCC_OscInitStruct.OscillatorType = RCC_OSCILLATORTYPE_HSE;
  RCC_OscInitStruct.HSEState = RCC_HSE_ON;
  RCC_OscInitStruct.PLL.PLLState = RCC_PLL_ON;
  RCC_OscInitStruct.PLL.PLLSource = RCC_PLLSOURCE_HSE;
  RCC_OscInitStruct.PLL.PLLM = 10;
  RCC_OscInitStruct.PLL.PLLN = 384;
  RCC_OscInitStruct.PLL.PLLP = 2;
  RCC_OscInitStruct.PLL.PLLQ = 5;
  RCC_OscInitStruct.PLL.PLLR = 2;
  RCC_OscInitStruct.PLL.PLLRGE = RCC_PLL1VCIRANGE_1;
  RCC_OscInitStruct.PLL.PLLVCOSEL = RCC_PLL1VCOWIDE;
  RCC_OscInitStruct.PLL.PLLFRACN = 0;
  if (HAL_RCC_OscConfig(&RCC_OscInitStruct) != HAL_OK)
  {
    Error_Handler();
  }

  /** Initializes the CPU, AHB and APB buses clocks
  */
  RCC_ClkInitStruct.ClockType = RCC_CLOCKTYPE_HCLK|RCC_CLOCKTYPE_SYSCLK
                              |RCC_CLOCKTYPE_PCLK1|RCC_CLOCKTYPE_PCLK2
                              |RCC_CLOCKTYPE_D3PCLK1|RCC_CLOCKTYPE_D1PCLK1;
  RCC_ClkInitStruct.SYSCLKSource = RCC_SYSCLKSOURCE_PLLCLK;
  RCC_ClkInitStruct.SYSCLKDivider = RCC_SYSCLK_DIV1;
  RCC_ClkInitStruct.AHBCLKDivider = RCC_HCLK_DIV2;
  RCC_ClkInitStruct.APB3CLKDivider = RCC_APB3_DIV2;
  RCC_ClkInitStruct.APB1CLKDivider = RCC_APB1_DIV2;
  RCC_ClkInitStruct.APB2CLKDivider = RCC_APB2_DIV2;
  RCC_ClkInitStruct.APB4CLKDivider = RCC_APB4_DIV2;

  if (HAL_RCC_ClockConfig(&RCC_ClkInitStruct, FLASH_LATENCY_4) != HAL_OK)
  {
    Error_Handler();
  }
}

void PeriphCommonClock_Config(void)
{
  RCC_PeriphCLKInitTypeDef PeriphClkInitStruct = {0};

  /** Initializes the peripherals clock
  */
  PeriphClkInitStruct.PeriphClockSelection = RCC_PERIPHCLK_ADC|RCC_PERIPHCLK_SAI1
                              |RCC_PERIPHCLK_SAI2|RCC_PERIPHCLK_SAI3;
  PeriphClkInitStruct.PLL2.PLL2M = 10;
  PeriphClkInitStruct.PLL2.PLL2N = 144;
  PeriphClkInitStruct.PLL2.PLL2P = 6;
  PeriphClkInitStruct.PLL2.PLL2Q = 2;
  PeriphClkInitStruct.PLL2.PLL2R = 2;
  PeriphClkInitStruct.PLL2.PLL2RGE = RCC_PLL2VCIRANGE_1;
  PeriphClkInitStruct.PLL2.PLL2VCOSEL = RCC_PLL2VCOWIDE;
  PeriphClkInitStruct.PLL2.PLL2FRACN = 0;
  PeriphClkInitStruct.PLL3.PLL3M = 25;
  PeriphClkInitStruct.PLL3.PLL3N = 451;
  PeriphClkInitStruct.PLL3.PLL3P = 4;
  PeriphClkInitStruct.PLL3.PLL3Q = 2;
  PeriphClkInitStruct.PLL3.PLL3R = 2;
  PeriphClkInitStruct.PLL3.PLL3RGE = RCC_PLL3VCIRANGE_0;
  PeriphClkInitStruct.PLL3.PLL3VCOSEL = RCC_PLL3VCOWIDE;
  PeriphClkInitStruct.PLL3.PLL3FRACN = 0;
  PeriphClkInitStruct.Sai1ClockSelection = RCC_SAI1CLKSOURCE_PLL3;
  PeriphClkInitStruct.Sai23ClockSelection = RCC_SAI23CLKSOURCE_PLL3;
  PeriphClkInitStruct.AdcClockSelection = RCC_ADCCLKSOURCE_PLL2;
  if (HAL_RCCEx_PeriphCLKConfig(&PeriphClkInitStruct) != HAL_OK)
  {
    Error_Handler();
  }
}

/* USER CODE BEGIN 4 */

#include "uarts_handler.h"
#include "timer_handler.h"
#include "encoder_handler.h"

/* USER CODE END 4 */

void Error_Handler(void)
{
  __disable_irq();
  while (1)
  {
  }
}
